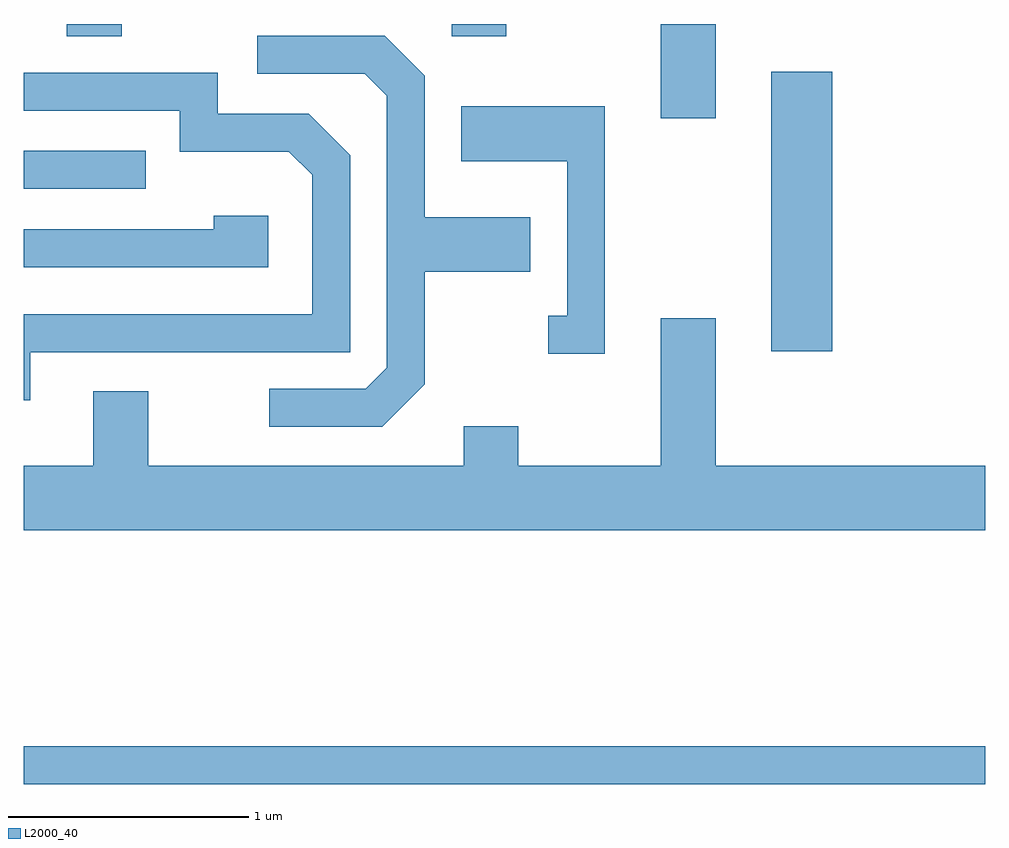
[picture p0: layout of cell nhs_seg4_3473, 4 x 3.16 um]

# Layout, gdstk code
import gdstk
lib = gdstk.Library(unit=1e-6, precision=1e-09)
def R(c, l, rs):  # rectangles x0, y0, x1, y1
    for r in rs: c.add(gdstk.rectangle(r[:2], r[2:], *l))
def P(c, l, *ps):  # polygons
    for p in ps: c.add(gdstk.Polygon(p, *l))
L2000_40 = (2000, 40)

nhs_seg4_3473 = lib.new_cell('nhs_seg4_3473')
R(nhs_seg4_3473, L2000_40, [(287.611,1264.821,291.611,1264.979), (290.721,1266.621,290.974,1267.784), (287.611,1267.296,288.118,1267.454), (290.261,1267.591,290.489,1267.982), (287.791,1267.931,288.019,1267.982), (289.391,1267.931,289.619,1267.982)])
P(nhs_seg4_3473, L2000_40, [(289.279,1266.484),(289.279,1266.951),(289.719,1266.951),(289.719,1267.179),(289.279,1267.179),(289.279,1267.767),(289.112,1267.934),(288.583,1267.934),(288.583,1267.776),(289.029,1267.776),(289.121,1267.684),(289.121,1266.552),(289.034,1266.464),(288.633,1266.464),(288.633,1266.306),(289.102,1266.306)],
  [(287.639,1266.616),(288.969,1266.616),(288.969,1267.437),(288.797,1267.609),(288.419,1267.609),(288.419,1267.779),(287.611,1267.779),(287.611,1267.621),(288.261,1267.621),(288.261,1267.451),(288.714,1267.451),(288.811,1267.354),(288.811,1266.774),(287.611,1266.774),(287.611,1266.418),(287.639,1266.418)],
  [(290.029,1267.639),(289.431,1267.639),(289.431,1267.411),(289.871,1267.411),(289.871,1266.769),(289.793,1266.769),(289.793,1266.611),(290.029,1266.611)],
  [(288.629,1267.184),(288.401,1267.184),(288.401,1267.129),(287.611,1267.129),(287.611,1266.971),(288.629,1266.971)],
  [(291.611,1266.144),(290.489,1266.144),(290.489,1266.759),(290.261,1266.759),(290.261,1266.144),(289.669,1266.144),(289.669,1266.309),(289.441,1266.309),(289.441,1266.144),(288.129,1266.144),(288.129,1266.454),(287.901,1266.454),(287.901,1266.144),(287.611,1266.144),(287.611,1265.876),(291.611,1265.876)])

lib.write_gds('nhs_seg4_3473.gds')
